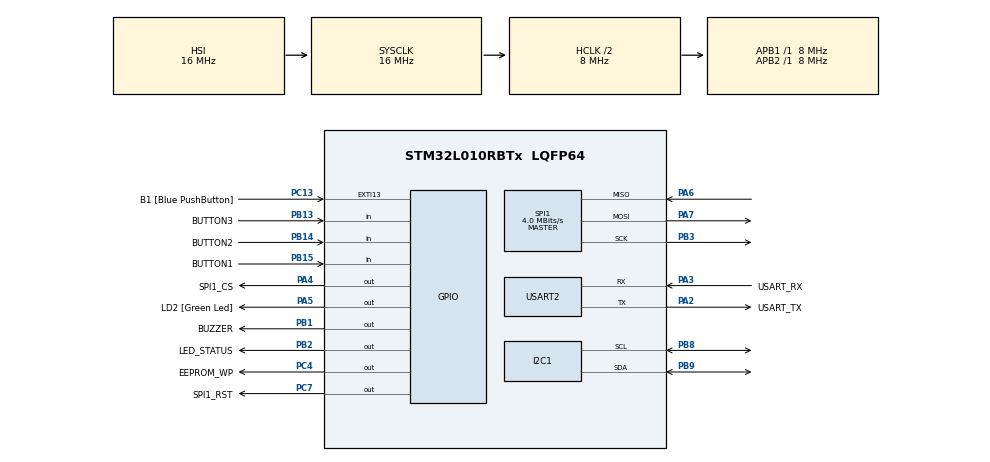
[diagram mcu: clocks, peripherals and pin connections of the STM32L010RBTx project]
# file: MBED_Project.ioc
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I2C1.Timing=0x00201D2B
Mcu.Family=STM32L0
Mcu.Name=STM32L010RBTx
Mcu.Package=LQFP64
PA13.GPIO_Label=TMS
PA13.Mode=Serial_Wire
PA13.Signal=SYS_SWDIO
PA14.GPIO_Label=TCK
PA14.Mode=Serial_Wire
PA14.Signal=SYS_SWCLK
PA2.GPIO_Label=USART_TX
PA2.Mode=Asynchronous
PA2.Signal=USART2_TX
PA3.GPIO_Label=USART_RX
PA3.Mode=Asynchronous
PA3.Signal=USART2_RX
PA4.GPIO_Label=SPI1_CS
PA4.PinState=GPIO_PIN_SET
PA4.Signal=GPIO_Output
PA5.GPIO_Label=LD2 [Green Led]
PA5.Signal=GPIO_Output
PA6.Mode=Full_Duplex_Master
PA6.Signal=SPI1_MISO
PA7.Mode=Full_Duplex_Master
PA7.Signal=SPI1_MOSI
PB1.GPIO_Label=BUZZER
PB1.Signal=GPIO_Output
PB13.GPIO_Label=BUTTON3
PB13.Signal=GPIO_Input
PB14.GPIO_Label=BUTTON2
PB14.Signal=GPIO_Input
PB15.GPIO_Label=BUTTON1
PB15.Signal=GPIO_Input
PB2.GPIO_Label=LED_STATUS
PB2.Signal=GPIO_Output
PB3.Mode=Full_Duplex_Master
PB3.Signal=SPI1_SCK
PB8.Mode=I2C
PB8.Signal=I2C1_SCL
PB9.Mode=I2C
PB9.Signal=I2C1_SDA
PC13.GPIO_Label=B1 [Blue PushButton]
PC13.GPIO_ModeDefaultEXTI=GPIO_MODE_IT_FALLING
PC13.Signal=GPXTI13
PC14-OSC32_IN.Mode=LSE-External-Oscillator
PC14-OSC32_IN.Signal=RCC_OSC32_IN
PC15-OSC32_OUT.Mode=LSE-External-Oscillator
PC15-OSC32_OUT.Signal=RCC_OSC32_OUT
PC4.GPIO_Label=EEPROM_WP
PC4.PinState=GPIO_PIN_RESET
PC4.Signal=GPIO_Output
PC7.GPIO_Label=SPI1_RST
PC7.Signal=GPIO_Output
PH0-OSC_IN.GPIO_Label=MCO
PH0-OSC_IN.Mode=HSE-External-Clock-Source
PH0-OSC_IN.Signal=RCC_OSC_IN
ProjectManager.HeapSize=0x200
ProjectManager.StackSize=0x400
ProjectManager.TargetToolchain=STM32CubeIDE
RCC.AHBCLKDivider=RCC_SYSCLK_DIV2
RCC.AHBFreq_Value=8000000
RCC.APB1Freq_Value=8000000
RCC.APB1TimFreq_Value=8000000
RCC.APB2Freq_Value=8000000
RCC.APB2TimFreq_Value=8000000
RCC.HCLKFreq_Value=8000000
RCC.HSE_VALUE=8000000
RCC.HSI16_VALUE=16000000
RCC.HSI48_VALUE=48000000
RCC.HSI_VALUE=16000000
RCC.MSI_VALUE=2097000
RCC.SYSCLKFreq_VALUE=16000000
RCC.SYSCLKSource=RCC_SYSCLKSOURCE_HSI
RCC.VCOOutputFreq_Value=48000000
RTC.Format=RTC_FORMAT_BIN
SPI1.BaudRatePrescaler=SPI_BAUDRATEPRESCALER_2
SPI1.CLKPhase=SPI_PHASE_1EDGE
SPI1.CRCCalculation=SPI_CRCCALCULATION_DISABLE
SPI1.CalculateBaudRate=4.0 MBits/s
SPI1.Direction=SPI_DIRECTION_2LINES
SPI1.Mode=SPI_MODE_MASTER
SPI1.VirtualType=VM_MASTER
USART2.VirtualMode-Asynchronous=VM_ASYNC
VP_RTC_VS_RTC_Activate.Mode=RTC_Enabled
VP_RTC_VS_RTC_Calendar.Mode=RTC_Calendar
VP_TIM2_VS_ClockSourceINT.Mode=Internal
board=NUCLEO-L010RB

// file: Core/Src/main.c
/* USER CODE BEGIN Header */
/**
 ******************************************************************************
 * @file           : main.c
 * @brief          : Main program body
 ******************************************************************************
 * @attention
 *
 * Copyright (c) 2025 STMicroelectronics.
 * All rights reserved.
 *
 * This software is licensed under terms that can be found in the LICENSE file
 * in the root directory of this software component.
 * If no LICENSE file comes with this software, it is provided AS-IS.
 *
 ******************************************************************************
 */
/* USER CODE END Header */
#include "main.h"

/* USER CODE BEGIN Includes */
#include <stdio.h>
#include <stdbool.h>
#include <string.h>
#include "rc522.h"
#include "lcd1602_i2c.h"
#include "eeprom.h"
/* USER CODE END Includes */

/* USER CODE BEGIN PD */
#define CURRENT_HOURS      11
#define CURRENT_MINUTES    30
#define CURRENT_SECONDS    0
#define CURRENT_WEEKDAY    RTC_WEEKDAY_THURSDAY
#define CURRENT_DATE       15
#define CURRENT_MONTH      1
#define CURRENT_YEAR       26
/* USER CODE END PD */

I2C_HandleTypeDef hi2c1;

RTC_HandleTypeDef hrtc;

SPI_HandleTypeDef hspi1;

TIM_HandleTypeDef htim2;

UART_HandleTypeDef huart2;

/* USER CODE BEGIN PV */

/* --- 1. HARDWARE DEFINITIONS --- */
// Adjust pins to match your board
#define BTN_PORT    GPIOB
#define PIN_NEXT    BUTTON2_Pin  // Button to scroll options
#define PIN_OK      BUTTON3_Pin  // Button to select
#define PIN_BACK    BUTTON1_Pin  // Button to exit

#define LED_PORT    LED_STATUS_GPIO_Port
#define LED_PIN     LED_STATUS_Pin

#define BUZZ_PORT   BUZZER_GPIO_Port
#define BUZZ_PIN    BUZZER_Pin

// === MASTER KEY (ADMIN CARD) ===
// Change these 4 bytes to match your specific Admin Card!
const uint8_t MASTER_CARD_UID[4] = { 0xE3, 0x95, 0x45, 0xFA };

/* --- 2. THE ONE GLOBAL VARIABLE (STRUCT) --- */
typedef enum {
	STATE_IDLE_WAIT = 0,
	STATE_CHECK_CARD,
	STATE_ACCESS_GRANTED,
	STATE_ACCESS_DENIED,

	STATE_ADMIN_MENU,
	STATE_ADMIN_ADD_WAIT,
	STATE_ADMIN_ADD_WRITE,
	STATE_ADMIN_ADD_SUCCESS,
	STATE_ADMIN_DELETE_WAIT,
	STATE_ADMIN_DELETE_WRITE,
	STATE_ADMIN_DELETE_SUCCESS,

	STATE_ERROR
} state_t;

typedef struct {
	// -- FSM Logic --
	state_t state;           // Current State
	state_t next_state;      // Next State
	uint32_t entry_time;     // Timer for timeouts

	// -- System Data --
	uint8_t rfid_uid[4];     // The card we just scanned
	uint8_t menu_index;      // 0=Add, 1=Delete
	bool eeprom_result;      // Did the save work?
	bool lcd_needs_update;   // Do we need to repaint the screen?

	// -- Inputs (Flags) --
	bool card_detected;
	bool btn_next;
	bool btn_ok;
	bool btn_back;

} System_t;

// Global variable for everything
System_t sys;

// Drivers
RC522_Handle rc522;
LCD1602_I2C lcd;
RTC_TimeTypeDef sTime;
RTC_DateTypeDef sDate;
int set_time;

/* USER CODE END PV */

void SystemClock_Config(void);
static void MX_GPIO_Init(void);
static void MX_USART2_UART_Init(void);
static void MX_I2C1_Init(void);
static void MX_RTC_Init(void);
static void MX_SPI1_Init(void);
static void MX_TIM2_Init(void);
/* USER CODE BEGIN PFP */
void system_init(void);
void read_inputs(void);
void fsm_update(void);
void fsm_output(void);
void fsm_enter_state(state_t new_state);
bool rfid_get_uid(uint8_t *uid_out);
bool check_master_card(uint8_t *uid);
void buzzer_beep(int times);
void led_heartbeat(void);
/* USER CODE END PFP */

int main(void) {

	/* MCU Configuration--------------------------------------------------------*/

	/* Reset of all peripherals, Initializes the Flash interface and the Systick. */
	HAL_Init();

	/* Configure the system clock */
	SystemClock_Config();

	/* Initialize all configured peripherals */
	MX_GPIO_Init();
	MX_USART2_UART_Init();
	MX_I2C1_Init();
	MX_RTC_Init();
	MX_SPI1_Init();
	MX_TIM2_Init();
	/* USER CODE BEGIN 2 */
	system_init();
	fsm_enter_state(STATE_IDLE_WAIT);
	/* USER CODE END 2 */

	/* Infinite loop */
	/* USER CODE BEGIN WHILE */
	while (1) {
		if (set_time) {
			set_time = 0;
			RTC_TimeTypeDef sTime = { 0 };
			sTime.Hours = CURRENT_HOURS;
			sTime.Minutes = CURRENT_MINUTES;
			sTime.Seconds = CURRENT_SECONDS;

			HAL_RTC_SetTime(&hrtc, &sTime, RTC_FORMAT_BIN);

			RTC_DateTypeDef sDate = { 0 };
			sDate.WeekDay = CURRENT_WEEKDAY;
			sDate.Date = CURRENT_DATE;
			sDate.Month = CURRENT_MONTH;
			sDate.Year = CURRENT_YEAR;

			HAL_RTC_SetDate(&hrtc, &sDate, RTC_FORMAT_BIN);
		}
		/* USER CODE END WHILE */

		/* USER CODE BEGIN 3 */
		read_inputs();
		fsm_update();
		fsm_output();
		led_heartbeat();
	}
	/* USER CODE END 3 */
}

void SystemClock_Config(void) {
	RCC_OscInitTypeDef RCC_OscInitStruct = { 0 };
	RCC_ClkInitTypeDef RCC_ClkInitStruct = { 0 };
	RCC_PeriphCLKInitTypeDef PeriphClkInit = { 0 };

	/** Configure the main internal regulator output voltage
	 */
	__HAL_PWR_VOLTAGESCALING_CONFIG(PWR_REGULATOR_VOLTAGE_SCALE1);

	/** Initializes the RCC Oscillators according to the specified parameters
	 * in the RCC_OscInitTypeDef structure.
	 */
	RCC_OscInitStruct.OscillatorType = RCC_OSCILLATORTYPE_HSI
			| RCC_OSCILLATORTYPE_LSI;
	RCC_OscInitStruct.HSIState = RCC_HSI_ON;
	RCC_OscInitStruct.HSICalibrationValue = RCC_HSICALIBRATION_DEFAULT;
	RCC_OscInitStruct.LSIState = RCC_LSI_ON;
	RCC_OscInitStruct.PLL.PLLState = RCC_PLL_NONE;
	if (HAL_RCC_OscConfig(&RCC_OscInitStruct) != HAL_OK) {
		Error_Handler();
	}

	/** Initializes the CPU, AHB and APB buses clocks
	 */
	RCC_ClkInitStruct.ClockType = RCC_CLOCKTYPE_HCLK | RCC_CLOCKTYPE_SYSCLK
			| RCC_CLOCKTYPE_PCLK1 | RCC_CLOCKTYPE_PCLK2;
	RCC_ClkInitStruct.SYSCLKSource = RCC_SYSCLKSOURCE_HSI;
	RCC_ClkInitStruct.AHBCLKDivider = RCC_SYSCLK_DIV2;
	RCC_ClkInitStruct.APB1CLKDivider = RCC_HCLK_DIV1;
	RCC_ClkInitStruct.APB2CLKDivider = RCC_HCLK_DIV1;

	if (HAL_RCC_ClockConfig(&RCC_ClkInitStruct, FLASH_LATENCY_0) != HAL_OK) {
		Error_Handler();
	}
	PeriphClkInit.PeriphClockSelection = RCC_PERIPHCLK_USART2
			| RCC_PERIPHCLK_I2C1 | RCC_PERIPHCLK_RTC;
	PeriphClkInit.Usart2ClockSelection = RCC_USART2CLKSOURCE_PCLK1;
	PeriphClkInit.I2c1ClockSelection = RCC_I2C1CLKSOURCE_PCLK1;
	PeriphClkInit.RTCClockSelection = RCC_RTCCLKSOURCE_LSI;
	if (HAL_RCCEx_PeriphCLKConfig(&PeriphClkInit) != HAL_OK) {
		Error_Handler();
	}
}

static void MX_I2C1_Init(void) {

	hi2c1.Instance = I2C1;
	hi2c1.Init.Timing = 0x00201D2B;
	hi2c1.Init.OwnAddress1 = 0;
	hi2c1.Init.AddressingMode = I2C_ADDRESSINGMODE_7BIT;
	hi2c1.Init.DualAddressMode = I2C_DUALADDRESS_DISABLE;
	hi2c1.Init.OwnAddress2 = 0;
	hi2c1.Init.OwnAddress2Masks = I2C_OA2_NOMASK;
	hi2c1.Init.GeneralCallMode = I2C_GENERALCALL_DISABLE;
	hi2c1.Init.NoStretchMode = I2C_NOSTRETCH_DISABLE;
	if (HAL_I2C_Init(&hi2c1) != HAL_OK) {
		Error_Handler();
	}

	/** Configure Analogue filter
	 */
	if (HAL_I2CEx_ConfigAnalogFilter(&hi2c1, I2C_ANALOGFILTER_ENABLE)
			!= HAL_OK) {
		Error_Handler();
	}

	/** Configure Digital filter
	 */
	if (HAL_I2CEx_ConfigDigitalFilter(&hi2c1, 0) != HAL_OK) {
		Error_Handler();
	}

}

static void MX_RTC_Init(void) {

	RTC_TimeTypeDef sTime = { 0 };
	RTC_DateTypeDef sDate = { 0 };

	/** Initialize RTC Only
	 */
	hrtc.Instance = RTC;
	hrtc.Init.HourFormat = RTC_HOURFORMAT_24;
	hrtc.Init.AsynchPrediv = 127;
	hrtc.Init.SynchPrediv = 255;
	hrtc.Init.OutPut = RTC_OUTPUT_DISABLE;
	hrtc.Init.OutPutRemap = RTC_OUTPUT_REMAP_NONE;
	hrtc.Init.OutPutPolarity = RTC_OUTPUT_POLARITY_HIGH;
	hrtc.Init.OutPutType = RTC_OUTPUT_TYPE_OPENDRAIN;
	if (HAL_RTC_Init(&hrtc) != HAL_OK) {
		Error_Handler();
	}

	/* USER CODE BEGIN Check_RTC_BKUP */
	if (HAL_RTCEx_BKUPRead(&hrtc, 0) != 0x1234) //checking lost power rtc reset
			{
		/* USER CODE END Check_RTC_BKUP */

		/** Initialize RTC and set the Time and Date
		 */
		sTime.Hours = 0;
		sTime.Minutes = 0;
		sTime.Seconds = 0;
		sTime.DayLightSaving = RTC_DAYLIGHTSAVING_NONE;
		sTime.StoreOperation = RTC_STOREOPERATION_RESET;
		if (HAL_RTC_SetTime(&hrtc, &sTime, RTC_FORMAT_BIN) != HAL_OK) {
			Error_Handler();
		}
		sDate.WeekDay = RTC_WEEKDAY_MONDAY;
		sDate.Month = RTC_MONTH_JANUARY;
		sDate.Date = 1;
		sDate.Year = 0;

		if (HAL_RTC_SetDate(&hrtc, &sDate, RTC_FORMAT_BIN) != HAL_OK) {
			Error_Handler();
		}
		/* USER CODE BEGIN RTC_Init 2 */
		HAL_RTCEx_BKUPWrite(&hrtc, 0, 0x1234); //write Private "Key" data
	}
	/* USER CODE END RTC_Init 2 */

}

static void MX_SPI1_Init(void) {

	/* SPI1 parameter configuration*/
	hspi1.Instance = SPI1;
	hspi1.Init.Mode = SPI_MODE_MASTER;
	hspi1.Init.Direction = SPI_DIRECTION_2LINES;
	hspi1.Init.DataSize = SPI_DATASIZE_8BIT;
	hspi1.Init.CLKPolarity = SPI_POLARITY_LOW;
	hspi1.Init.CLKPhase = SPI_PHASE_1EDGE;
	hspi1.Init.NSS = SPI_NSS_SOFT;
	hspi1.Init.BaudRatePrescaler = SPI_BAUDRATEPRESCALER_2;
	hspi1.Init.FirstBit = SPI_FIRSTBIT_MSB;
	hspi1.Init.TIMode = SPI_TIMODE_DISABLE;
	hspi1.Init.CRCCalculation = SPI_CRCCALCULATION_DISABLE;
	hspi1.Init.CRCPolynomial = 7;
	if (HAL_SPI_Init(&hspi1) != HAL_OK) {
		Error_Handler();
	}

}

static void MX_TIM2_Init(void) {

	TIM_ClockConfigTypeDef sClockSourceConfig = { 0 };
	TIM_MasterConfigTypeDef sMasterConfig = { 0 };

	htim2.Instance = TIM2;
	htim2.Init.Prescaler = 0;
	htim2.Init.CounterMode = TIM_COUNTERMODE_UP;
	htim2.Init.Period = 65535;
	htim2.Init.ClockDivision = TIM_CLOCKDIVISION_DIV1;
	htim2.Init.AutoReloadPreload = TIM_AUTORELOAD_PRELOAD_DISABLE;
	if (HAL_TIM_Base_Init(&htim2) != HAL_OK) {
		Error_Handler();
	}
	sClockSourceConfig.ClockSource = TIM_CLOCKSOURCE_INTERNAL;
	if (HAL_TIM_ConfigClockSource(&htim2, &sClockSourceConfig) != HAL_OK) {
		Error_Handler();
	}
	sMasterConfig.MasterOutputTrigger = TIM_TRGO_RESET;
	sMasterConfig.MasterSlaveMode = TIM_MASTERSLAVEMODE_DISABLE;
	if (HAL_TIMEx_MasterConfigSynchronization(&htim2, &sMasterConfig)
			!= HAL_OK) {
		Error_Handler();
	}

}

static void MX_USART2_UART_Init(void) {

	huart2.Instance = USART2;
	huart2.Init.BaudRate = 115200;
	huart2.Init.WordLength = UART_WORDLENGTH_8B;
	huart2.Init.StopBits = UART_STOPBITS_1;
	huart2.Init.Parity = UART_PARITY_NONE;
	huart2.Init.Mode = UART_MODE_TX_RX;
	huart2.Init.HwFlowCtl = UART_HWCONTROL_NONE;
	huart2.Init.OverSampling = UART_OVERSAMPLING_16;
	huart2.Init.OneBitSampling = UART_ONE_BIT_SAMPLE_DISABLE;
	huart2.AdvancedInit.AdvFeatureInit = UART_ADVFEATURE_NO_INIT;
	if (HAL_UART_Init(&huart2) != HAL_OK) {
		Error_Handler();
	}

}

static void MX_GPIO_Init(void) {
	GPIO_InitTypeDef GPIO_InitStruct = { 0 };

	/* GPIO Ports Clock Enable */
	__HAL_RCC_GPIOC_CLK_ENABLE();
	__HAL_RCC_GPIOH_CLK_ENABLE();
	__HAL_RCC_GPIOA_CLK_ENABLE();
	__HAL_RCC_GPIOB_CLK_ENABLE();

	/*Configure GPIO pin Output Level */
	HAL_GPIO_WritePin(SPI1_CS_GPIO_Port, SPI1_CS_Pin, GPIO_PIN_SET);

	/*Configure GPIO pin Output Level */
	HAL_GPIO_WritePin(LD2_GPIO_Port, LD2_Pin, GPIO_PIN_RESET);

	/*Configure GPIO pin Output Level */
	HAL_GPIO_WritePin(GPIOC, EEPROM_WP_Pin | SPI1_RST_Pin, GPIO_PIN_RESET);

	/*Configure GPIO pin Output Level */
	HAL_GPIO_WritePin(GPIOB, BUZZER_Pin | LED_STATUS_Pin, GPIO_PIN_RESET);

	/*Configure GPIO pin : B1_Pin */
	GPIO_InitStruct.Pin = B1_Pin;
	GPIO_InitStruct.Mode = GPIO_MODE_IT_FALLING;
	GPIO_InitStruct.Pull = GPIO_NOPULL;
	HAL_GPIO_Init(B1_GPIO_Port, &GPIO_InitStruct);

	/*Configure GPIO pins : SPI1_CS_Pin LD2_Pin */
	GPIO_InitStruct.Pin = SPI1_CS_Pin | LD2_Pin;
	GPIO_InitStruct.Mode = GPIO_MODE_OUTPUT_PP;
	GPIO_InitStruct.Pull = GPIO_NOPULL;
	GPIO_InitStruct.Speed = GPIO_SPEED_FREQ_LOW;
	HAL_GPIO_Init(GPIOA, &GPIO_InitStruct);

	/*Configure GPIO pins : EEPROM_WP_Pin SPI1_RST_Pin */
	GPIO_InitStruct.Pin = EEPROM_WP_Pin | SPI1_RST_Pin;
	GPIO_InitStruct.Mode = GPIO_MODE_OUTPUT_PP;
	GPIO_InitStruct.Pull = GPIO_NOPULL;
	GPIO_InitStruct.Speed = GPIO_SPEED_FREQ_LOW;
	HAL_GPIO_Init(GPIOC, &GPIO_InitStruct);

	/*Configure GPIO pins : BUZZER_Pin LED_STATUS_Pin */
	GPIO_InitStruct.Pin = BUZZER_Pin | LED_STATUS_Pin;
	GPIO_InitStruct.Mode = GPIO_MODE_OUTPUT_PP;
	GPIO_InitStruct.Pull = GPIO_NOPULL;
	GPIO_InitStruct.Speed = GPIO_SPEED_FREQ_LOW;
	HAL_GPIO_Init(GPIOB, &GPIO_InitStruct);

	/*Configure GPIO pins : BUTTON3_Pin BUTTON2_Pin BUTTON1_Pin */
	GPIO_InitStruct.Pin = BUTTON3_Pin | BUTTON2_Pin | BUTTON1_Pin;
	GPIO_InitStruct.Mode = GPIO_MODE_INPUT;
	GPIO_InitStruct.Pull = GPIO_NOPULL;
	HAL_GPIO_Init(GPIOB, &GPIO_InitStruct);

}

/* USER CODE BEGIN 4 */

/* -------------------------------------------------------------------------- */
/* 1. INPUT LAYER (Human & Sensor Interface)                                  */
/* -------------------------------------------------------------------------- */
/*
 * Purpose: Reads physical buttons and the RFID sensor.
 * Logic:
 * - Uses "Active Low" logic for buttons (0V = Pressed).
 * - Implements "Debouncing" (20ms wait) to ignore electrical noise.
 */
void read_inputs(void) {
	// Static flags to remember if a button is currently being held down
	static bool hold_next = false;
	static bool hold_ok = false;
	static bool hold_back = false;

	// --- BTN NEXT ---
	// 1. Check if signal is LOW (0V)
	if (HAL_GPIO_ReadPin(BTN_PORT, PIN_NEXT) == GPIO_PIN_RESET) {
		// 2. If it wasn't already held down...
		if (!hold_next) {
			HAL_Delay(20); // Wait for mechanical contacts to settle (Debounce)
			// 3. Check again. If still LOW, it's a real press.
			if (HAL_GPIO_ReadPin(BTN_PORT, PIN_NEXT) == GPIO_PIN_RESET) {
				sys.btn_next = true; // Set event flag for the FSM
				hold_next = true;    // Lock input until release
			}
		}
	} else {
		hold_next = false; // Button released (High/3.3V), unlock the logic
	}

	// --- BTN OK ---
	if (HAL_GPIO_ReadPin(BTN_PORT, PIN_OK) == GPIO_PIN_RESET) {
		if (!hold_ok) {
			HAL_Delay(20);
			if (HAL_GPIO_ReadPin(BTN_PORT, PIN_OK) == GPIO_PIN_RESET) {
				sys.btn_ok = true;
				hold_ok = true;
			}
		}
	} else {
		hold_ok = false;
	}

	// --- BTN BACK ---
	if (HAL_GPIO_ReadPin(BTN_PORT, PIN_BACK) == GPIO_PIN_RESET) {
		if (!hold_back) {
			HAL_Delay(20);
			if (HAL_GPIO_ReadPin(BTN_PORT, PIN_BACK) == GPIO_PIN_RESET) {
				sys.btn_back = true;
				hold_back = true;
			}
		}
	} else {
		hold_back = false;
	}

	// --- RFID POLLING ---
	// Purpose: Checks for cards periodically (every 50ms) instead of constantly.
	// Safety: We disable polling during WRITE states to prevent SPI bus conflicts.
	if (sys.state != STATE_ADMIN_ADD_WRITE
			&& sys.state != STATE_ADMIN_DELETE_WRITE) {
		static uint32_t last_rfid = 0;
		if (HAL_GetTick() - last_rfid > 50) {
			last_rfid = HAL_GetTick();

			// Ask RC522: "Is there a card field disruption?"
			RC522_Status status = RC522_IsNewCardPresent(&rc522);
			if (status == RC522_OK) {
				sys.card_detected = true;
			} else if (status == RC522_ERROR || status == RC522_TIMEOUT) {
				RC522_Reset(&rc522); // Reset chip if it gets stuck
			}
		}
	}
}

/* -------------------------------------------------------------------------- */
/* 2. LOGIC LAYER (The Finite State Machine)                                  */
/* -------------------------------------------------------------------------- */
/*
 * Purpose: Decides WHAT to do based on current state and inputs.
 * Logic:
 * - Checks flags set by read_inputs (sys.btn_next, sys.card_detected).
 * - Moves system from one state to another (e.g., IDLE -> CHECK_CARD).
 * - Handles timeouts (returning to IDLE after 2 seconds).
 */
void fsm_update(void) {
	sys.next_state = sys.state; // Default: Stay in current state

	switch (sys.state) {
	case STATE_IDLE_WAIT:
		// Waiting for a card...
		if (sys.card_detected) {
			// Try to read the unique ID (UID)
			if (rfid_get_uid(sys.rfid_uid)) {
				sys.next_state = STATE_CHECK_CARD;
			} else {
				// False alarm (noise or bad read)
				sys.card_detected = false;
				RC522_Reset(&rc522);
			}
		}
		break;

	case STATE_CHECK_CARD:
		// Decision: Is this Admin or User?
		if (check_master_card(sys.rfid_uid)) {
			sys.next_state = STATE_ADMIN_MENU;
		} else {
			// Check EEPROM database via I2C
			sys.eeprom_result = EEPROM_CheckUID(sys.rfid_uid);
			sys.next_state =
					sys.eeprom_result ?
							STATE_ACCESS_GRANTED : STATE_ACCESS_DENIED;
		}
		break;

	case STATE_ACCESS_GRANTED:
	case STATE_ACCESS_DENIED:
		// Show result for 2 seconds, then go home
		if ((HAL_GetTick() - sys.entry_time) > 2000)
			sys.next_state = STATE_IDLE_WAIT;
		break;

	case STATE_ADMIN_MENU:
		// Navigation Logic
		if (sys.btn_next) {
			sys.menu_index ^= 1;         // Toggle between 0 and 1
			sys.lcd_needs_update = true; // Tell Output Layer to redraw LCD
			sys.btn_next = false;        // Consume the event
		} else if (sys.btn_ok) {
			sys.next_state =
					(sys.menu_index == 0) ?
							STATE_ADMIN_ADD_WAIT : STATE_ADMIN_DELETE_WAIT;
			sys.btn_ok = false;
		} else if (sys.btn_back) {
			sys.next_state = STATE_IDLE_WAIT;
			sys.btn_back = false;
		}
		break;

	case STATE_ADMIN_ADD_WAIT:
		if (sys.card_detected)
			sys.next_state = STATE_ADMIN_ADD_WRITE;
		else if (sys.btn_back) {
			sys.next_state = STATE_ADMIN_MENU;
			sys.btn_back = false;
		}
		break;

	case STATE_ADMIN_ADD_WRITE:
		// Logic: Try to read UID. If fail, retry until timeout.
		if (rfid_get_uid(sys.rfid_uid)) {
			// Success! Prevent adding Master Card as a user.
			if (check_master_card(sys.rfid_uid)) {
				sys.next_state = STATE_ERROR;
			} else {
				// Save to EEPROM (I2C Write)
				sys.eeprom_result = (EEPROM_SaveUID(sys.rfid_uid) == 0);

				if (sys.eeprom_result) {
					sys.next_state = STATE_ADMIN_ADD_SUCCESS;
				} else {
					sys.next_state = STATE_ERROR; // EEPROM Full or Error
				}
			}
		} else {
			// Read failed. Keep trying for 2.5 seconds before giving up.
			if ((HAL_GetTick() - sys.entry_time) > 2500) {
				sys.next_state = STATE_ERROR;
			}
		}
		break;

	case STATE_ADMIN_ADD_SUCCESS:
		if ((HAL_GetTick() - sys.entry_time) > 1500)
			sys.next_state = STATE_ADMIN_MENU;
		break;

	case STATE_ADMIN_DELETE_WAIT:
		if (sys.card_detected)
			sys.next_state = STATE_ADMIN_DELETE_WRITE;
		else if (sys.btn_back) {
			sys.next_state = STATE_ADMIN_MENU;
			sys.btn_back = false;
		}
		break;

	case STATE_ADMIN_DELETE_WRITE:
		if (rfid_get_uid(sys.rfid_uid)) {
			if (check_master_card(sys.rfid_uid)) {
				sys.next_state = STATE_ERROR;
			} else {
				// Delete from EEPROM
				sys.eeprom_result = EEPROM_DeleteUID(sys.rfid_uid);

				if (sys.eeprom_result) {
					sys.next_state = STATE_ADMIN_DELETE_SUCCESS;
				} else {
					sys.next_state = STATE_ERROR; // User not found
				}
			}
		} else {
			// Retry timeout logic
			if ((HAL_GetTick() - sys.entry_time) > 2500) {
				sys.next_state = STATE_ERROR;
			}
		}
		break;

	case STATE_ADMIN_DELETE_SUCCESS:
		if ((HAL_GetTick() - sys.entry_time) > 1500)
			sys.next_state = STATE_ADMIN_MENU;
		break;

	case STATE_ERROR:
		// Universal error state. Wait for Back button OR Timeout.
		if (sys.btn_back || (HAL_GetTick() - sys.entry_time) > 2000) {
			sys.next_state = STATE_IDLE_WAIT;
			sys.btn_back = false;
		}
		break;
	}

	// Apply transition
	if (sys.next_state != sys.state)
		fsm_enter_state(sys.next_state);
}

/* -------------------------------------------------------------------------- */
/* 3. STATE TRANSITION HANDLER                                                */
/* -------------------------------------------------------------------------- */
/*
 * Purpose: Setup tasks that run ONLY ONCE when entering a new state.
 * Examples: Resetting timers, clearing flags, beeping the buzzer.
 */
void fsm_enter_state(state_t new_state) {
	sys.state = new_state;
	sys.entry_time = HAL_GetTick(); // Start the state timer
	sys.lcd_needs_update = true;    // Force LCD redraw

	// Reset inputs when entering "Wait" states to avoid accidental triggers
	if (new_state == STATE_IDLE_WAIT || new_state == STATE_ADMIN_ADD_WAIT
			|| new_state == STATE_ADMIN_DELETE_WAIT) {
		sys.card_detected = false;
		sys.btn_next = false;
		sys.btn_ok = false;
		RC522_Reset(&rc522);
	}

	// Audio Feedback
	switch (new_state) {
	case STATE_ACCESS_GRANTED:
		buzzer_beep(2);
		break;
	case STATE_ACCESS_DENIED:
		buzzer_beep(3);
		break;
	case STATE_ADMIN_MENU:
		buzzer_beep(1);
		break;
	case STATE_ADMIN_ADD_SUCCESS:
	case STATE_ADMIN_DELETE_SUCCESS:
		buzzer_beep(2);
		break;
	case STATE_ERROR:
		buzzer_beep(3);
		break;
	default:
		break;
	}
}

/* -------------------------------------------------------------------------- */
/* 4. OUTPUT LAYER (Visual Interface)                                         */
/* -------------------------------------------------------------------------- */
/*
 * Purpose: Manages the LCD display.
 * Strategy: Split into STATIC and DYNAMIC updates.
 * - Static: Text that never changes (e.g., "Access Denied"). Drawn ONCE.
 * - Dynamic: Text that changes (e.g., Clock). Drawn every second.
 * This prevents the screen from flickering.
 */
void fsm_output(void) {
	// --- A. STATIC UPDATES (Runs once per state change) ---
	if (sys.lcd_needs_update) {
		LCD_Clear(&lcd);
		LCD_SetCursor(&lcd, 0, 0);

		switch (sys.state) {
		case STATE_IDLE_WAIT:
			LCD_Print(&lcd, "\x03 Scan Card...");
			break;
		case STATE_ACCESS_GRANTED:
			LCD_Print(&lcd, "Access Granted");
			LCD_SetCursor(&lcd, 0, 1);
			LCD_Print(&lcd, "Welcome! \x01");
			break;
		case STATE_ACCESS_DENIED:
			LCD_Print(&lcd, "Access Denied");
			LCD_SetCursor(&lcd, 0, 1);
			LCD_Print(&lcd, "Invalid Card \x02");
			break;
		case STATE_ADMIN_MENU:
			LCD_Print(&lcd, "ADMIN MENU:");
			LCD_SetCursor(&lcd, 0, 1);
			if (sys.menu_index == 0)
				LCD_Print(&lcd, "> Add User");
			else
				LCD_Print(&lcd, "> Delete User");
			break;
		case STATE_ADMIN_ADD_WAIT:
			LCD_Print(&lcd, "ADD MODE");
			LCD_SetCursor(&lcd, 0, 1);
			LCD_Print(&lcd, "Scan New Card");
			break;
		case STATE_ADMIN_ADD_WRITE:
			LCD_Print(&lcd, "Saving...");
			break;
		case STATE_ADMIN_ADD_SUCCESS:
			LCD_Print(&lcd, "User Added! \x01");
			break;
		case STATE_ADMIN_DELETE_WAIT:
			LCD_Print(&lcd, "DELETE MODE");
			LCD_SetCursor(&lcd, 0, 1);
			LCD_Print(&lcd, "Scan to Erase");
			break;
		case STATE_ADMIN_DELETE_WRITE:
			LCD_Print(&lcd, "Erasing...");
			break;
		case STATE_ADMIN_DELETE_SUCCESS:
			LCD_Print(&lcd, "User Deleted! \x01");
			break;
		case STATE_ERROR:
			LCD_Print(&lcd, "Operation Failed");
			break;
		default:
			break;
		}
		sys.lcd_needs_update = false; // Mark as done
	}

	// --- B. DYNAMIC UPDATES (Clock) ---
	if (sys.state == STATE_IDLE_WAIT) {
		static uint8_t last_sec = 255;

		// Get Time from RTC (Real Time Clock) hardware
		HAL_RTC_GetTime(&hrtc, &sTime, RTC_FORMAT_BIN);
		HAL_RTC_GetDate(&hrtc, &sDate, RTC_FORMAT_BIN);

		// Only send I2C command if the second has actually changed
		if (sTime.Seconds != last_sec) {
			last_sec = sTime.Seconds;

			char timeStr[25]; // Buffer large enough for text + icons
			// Format: DD/MM HH:MM:SS
			sprintf(timeStr, "%02d/%02d %02d:%02d:%02d", sDate.Date,
					sDate.Month, sTime.Hours, sTime.Minutes, sTime.Seconds);

			LCD_SetCursor(&lcd, 0, 1);
			LCD_Print(&lcd, timeStr);
		}
	}
}

/* -------------------------------------------------------------------------- */
/* 5. INITIALIZATION & HELPERS                                                */
/* -------------------------------------------------------------------------- */

void system_init(void) {
	// Initialize Drivers
	LCD_Init(&lcd, &hi2c1, 0x27, 16, 2);
	RC522_InitHandle(&rc522, &hspi1, SPI1_CS_GPIO_Port, SPI1_CS_Pin,
	SPI1_RST_GPIO_Port, SPI1_RST_Pin);
	EEPROM_Init(&hi2c1);

	// Define Custom Icons (Bitmap)
	uint8_t Check[8] = { 0b00000, 0b00001, 0b00011, 0b10110, 0b11100, 0b01000,
			0b00000, 0b00000 };
	uint8_t Cross[8] = { 0b00000, 0b11011, 0b01110, 0b00100, 0b01110, 0b11011,
			0b00000, 0b00000 };
	uint8_t Heart[8] = { 0b00000, 0b01010, 0b11111, 0b11111, 0b01110, 0b00100,
			0b00000, 0b00000 };

	// Upload Icons to LCD Memory (CGRAM)
	LCD_CreateCustomChar(&lcd, 1, Check); // Slot 1
	LCD_CreateCustomChar(&lcd, 2, Cross); // Slot 2
	LCD_CreateCustomChar(&lcd, 3, Heart); // Slot 3

	// Show Boot Screen
	LCD_Clear(&lcd);
	LCD_Print(&lcd, "System Boot");
	HAL_Delay(200);

	LCD_SetCursor(&lcd, 0, 1);
	LCD_Print(&lcd, "Init RFID...");
	HAL_Delay(800);

	// Initialize RFID Chip (Wait until success or timeout)
	uint32_t start = HAL_GetTick();
	while (RC522_Init(&rc522) != RC522_OK) {
		if (HAL_GetTick() - start > 1000) {
			LCD_Print(&lcd, "RFID Timeout");
			HAL_Delay(1000);
			break;
		}
	}
	LCD_Clear(&lcd);
}

// Wrapper to get RFID UID safely with timeout protection
bool rfid_get_uid(uint8_t *uid_out) {
	uint32_t t = HAL_GetTick();
	while (HAL_GetTick() - t < 50) {
		RC522_Status s = RC522_ReadCardUID(&rc522);
		if (s == RC522_OK) {
			memcpy(uid_out, rc522.uid.uidByte, 4);
			return true;
		}
		if (s != RC522_PENDING)
			break;
	}
	return false;
}

// Security Check: Is the scanned card the Admin Card?
bool check_master_card(uint8_t *uid) {
	return (memcmp(uid, MASTER_CARD_UID, 4) == 0);
}

// Simple Beep Function
void buzzer_beep(int times) {
	for (int i = 0; i < times; i++) {
		HAL_GPIO_WritePin(BUZZ_PORT, BUZZ_PIN, GPIO_PIN_SET);
		HAL_Delay(50);
		HAL_GPIO_WritePin(BUZZ_PORT, BUZZ_PIN, GPIO_PIN_RESET);
		if (times > 1)
			HAL_Delay(100);
	}
}

// Visual "Heartbeat" to prove the main loop is not frozen
void led_heartbeat(void) {
	static uint32_t last_blink = 0;
	if (HAL_GetTick() - last_blink > 500) {
		last_blink = HAL_GetTick();
		HAL_GPIO_TogglePin(LED_PORT, LED_PIN);
	}
}

/* USER CODE END 4 */

void Error_Handler(void) {
	__disable_irq();
	while (1) {
	}
}
